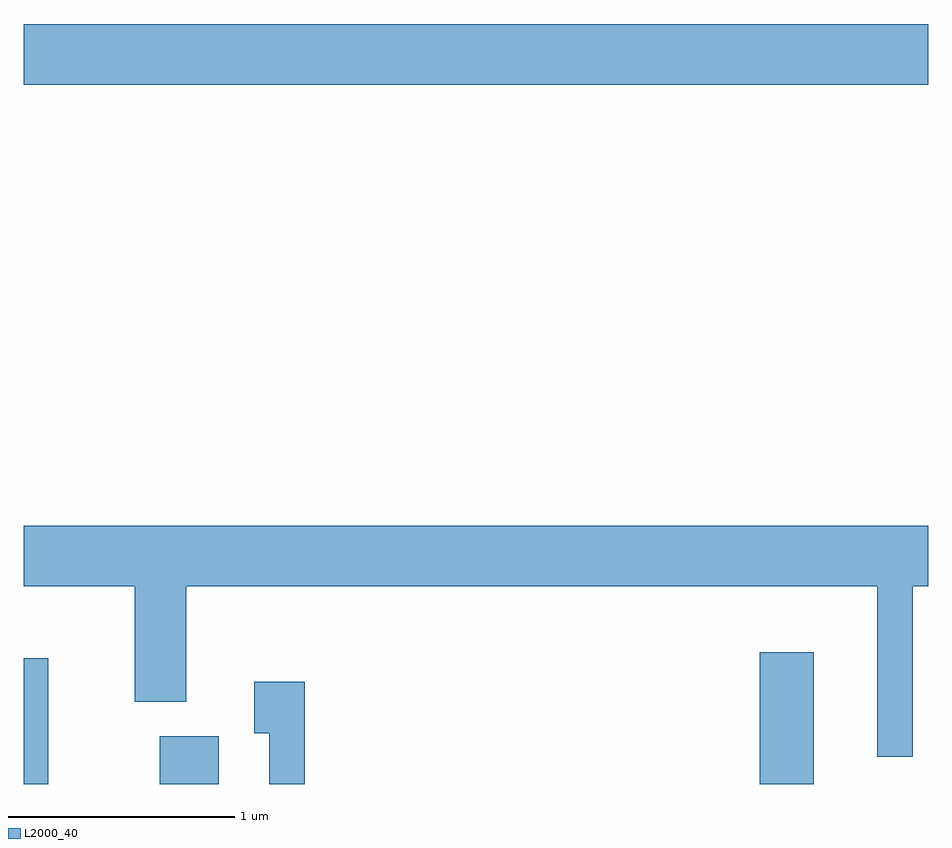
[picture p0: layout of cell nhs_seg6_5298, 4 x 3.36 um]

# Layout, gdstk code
import gdstk
lib = gdstk.Library(unit=1e-6, precision=1e-09)
def R(c, l, rs):  # rectangles x0, y0, x1, y1
    for r in rs: c.add(gdstk.rectangle(r[:2], r[2:], *l))
def P(c, l, *ps):  # polygons
    for p in ps: c.add(gdstk.Polygon(p, *l))
L2000_40 = (2000, 40)

nhs_seg6_5298 = lib.new_cell('nhs_seg6_5298')
R(nhs_seg6_5298, L2000_40, [(345.611,1660.162,345.719,1660.719), (346.211,1660.162,346.474,1660.374), (348.866,1660.162,349.104,1660.744), (345.611,1663.256,349.611,1663.524)])
P(nhs_seg6_5298, L2000_40, [(349.544,1661.036),(349.611,1661.036),(349.611,1661.304),(345.611,1661.304),(345.611,1661.036),(346.101,1661.036),(346.101,1660.526),(346.329,1660.526),(346.329,1661.036),(349.386,1661.036),(349.386,1660.283),(349.544,1660.283)],
  [(346.854,1660.614),(346.631,1660.614),(346.631,1660.386),(346.696,1660.386),(346.696,1660.162),(346.854,1660.162)])

lib.write_gds('nhs_seg6_5298.gds')
